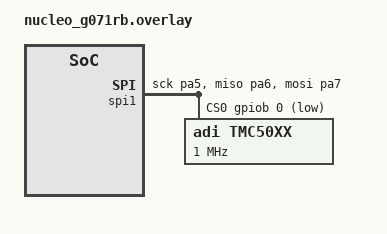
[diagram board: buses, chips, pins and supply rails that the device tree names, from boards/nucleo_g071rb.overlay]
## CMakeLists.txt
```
 # SPDX-FileCopyrightText: Copyright (c) 2025 Jilay Sandeep Pandya
 # SPDX-License-Identifier: Apache-2.0

cmake_minimum_required(VERSION 3.28.0)

find_package(Zephyr REQUIRED HINTS $ENV{ZEPHYR_BASE})
project(tmc50xx)

FILE(GLOB app_sources src/*.c)
target_sources(app PRIVATE ${app_sources})
```

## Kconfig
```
# SPDX-FileCopyrightText: Copyright (c) 2025 Jilay Sandeep Pandya
# SPDX-License-Identifier: Apache-2.0

mainmenu "TMC50XX sample application"

config STEPS_PER_REV
	int "Steps per revolution"
	default 200

config PING_PONG_N_REV
	int "Change direction every N revolutions"
	default 1

config MAX_VELOCITY_MULTIPLIER
	int "Max velocity multiplier"
	default 1

source "Kconfig.zephyr"
```

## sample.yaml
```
sample:
  name: TMC50XX Stepper Sample
tests:
  sample.drivers.stepper.tmc50xx:
    harness: stepper
    tags: stepper
    platform_allow: nucleo_g071rb
    depends_on: spi
```

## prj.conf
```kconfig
CONFIG_STEPPER_CONTROL=y
CONFIG_STEPPER=y
CONFIG_LOG=y
```

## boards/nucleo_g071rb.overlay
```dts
/*
 * SPDX-FileCopyrightText: Copyright (c) 2025 Dipak Shetty
 * SPDX-FileCopyrightText: Copyright (c) 2024 Jilay Sandeep Pandya
 * SPDX-License-Identifier: Apache-2.0
 */

/ {
	aliases {
		stepper-driver = &tmc_stepper_driver;
		stepper-ctrl = &tmc_motion_controller;
	};
};

&spi1 {
	pinctrl-0 = <&spi1_sck_pa5 &spi1_miso_pa6 &spi1_mosi_pa7>;
	pinctrl-names = "default";
	cs-gpios = <&gpiob 0 GPIO_ACTIVE_LOW>;
	status = "okay";

	tmc50xx: tmc50xx@0 {
		compatible = "adi,tmc50xx";
		reg = <0>;
		spi-max-frequency = <DT_FREQ_M(1)>; /* Maximum SPI bus frequency */

		clock-frequency = <DT_FREQ_M(10)>; /* Internal/External Clock frequency */

		/* common stepper controller settings */
		tmc_stepper_driver: stepper-driver {
			compatible = "adi,tmc50xx-stepper-driver";
			micro-step-res = <256>;
			idx = <0>;
			/* ADI TMC stallguard settings specific to TMC50XX */
			stallguard2-threshold = <30>;
		};

		/* ADI TMC ramp generator as well as current settings */
		tmc_motion_controller: motion-controller {
			compatible = "adi,tmc50xx-stepper-ctrl";
			idx = <0>;
			vstart = <1000>;
			vstop = <10>;
			a1 = <10000>;
			v1 = <50000>;
			d1 = <14000>;
			vmax = <900000>;
			amax = <50000>;
			dmax = <7000>;
			tzerowait = <100>;
			vhigh = <900000>;
			vcoolthrs = <900000>;
			ihold = <1>;
			irun = <10>;
			iholddelay = <1>;
		};
	};
};
```

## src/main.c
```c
/*
 * SPDX-FileCopyrightText: Copyright (c) 2025 Jilay Sandeep Pandya.
 * SPDX-License-Identifier: Apache-2.0
 */

#include <zephyr/device.h>
#include <zephyr/drivers/gpio.h>
#include <zephyr/drivers/stepper/stepper.h>
#include <zephyr/drivers/stepper/stepper_ctrl.h>
#include <zephyr/kernel.h>
#include <zephyr/drivers/stepper/stepper_trinamic.h>

#include <zephyr/logging/log.h>
LOG_MODULE_REGISTER(stepper_tmc50xx, CONFIG_STEPPER_LOG_LEVEL);

static const struct device *stepper_ctrl = DEVICE_DT_GET(DT_ALIAS(stepper_ctrl));
static const struct device *stepper_driver = DEVICE_DT_GET(DT_ALIAS(stepper_driver));

int32_t ping_pong_target_position = CONFIG_STEPS_PER_REV * CONFIG_PING_PONG_N_REV *
				    DT_PROP(DT_ALIAS(stepper_driver), micro_step_res);

K_SEM_DEFINE(steps_completed_sem, 0, 1);

void stepper_callback(const struct device *dev, const enum stepper_ctrl_event event,
		      void *user_data)
{
	ARG_UNUSED(user_data);
	switch (event) {
	case STEPPER_CTRL_EVENT_STEPS_COMPLETED:
		k_sem_give(&steps_completed_sem);
		break;
	default:
		break;
	}
}

int main(void)
{
	LOG_INF("Starting tmc50xx stepper sample");
	if (!device_is_ready(stepper_ctrl)) {
		LOG_ERR("Device %s is not ready", stepper_ctrl->name);
		return -ENODEV;
	}
	LOG_DBG("stepper is %p, name is %s", stepper_ctrl, stepper_ctrl->name);

	struct tmc_stallguard_settings sg_settings = {
		.is_sg_enabled = true,
		.sg_velocity_check_interval_ms = 100,
		.sg_threshold_velocity = 200000,
	};
	tmc50xx_stepper_ctrl_configure_stallguard(stepper_ctrl, &sg_settings);

	stepper_ctrl_set_event_cb(stepper_ctrl, stepper_callback, NULL);
	stepper_enable(stepper_driver);

	enum stepper_micro_step_resolution micro_step_res;

	stepper_get_micro_step_res(stepper_driver, &micro_step_res);
	LOG_DBG("Microstep resolution is %d", micro_step_res);

	stepper_ctrl_set_reference_position(stepper_ctrl, 0);
	stepper_ctrl_move_by(stepper_ctrl, ping_pong_target_position);

	/* Change Max Velocity during runtime */
	int32_t tmc_velocity;

	tmc_velocity = DT_PROP(DT_ALIAS(stepper_ctrl), vmax) * CONFIG_MAX_VELOCITY_MULTIPLIER;
	(void)tmc50xx_stepper_ctrl_set_max_velocity(stepper_ctrl, tmc_velocity);

	for (;;) {
		if (k_sem_take(&steps_completed_sem, K_FOREVER) == 0) {
			ping_pong_target_position *= -1;
			stepper_ctrl_move_by(stepper_ctrl, ping_pong_target_position);

			int32_t actual_position;
			int ret;

			ret = stepper_ctrl_get_actual_position(stepper_ctrl, &actual_position);
			if (ret == 0) {
				LOG_INF("Actual position: %d", actual_position);
			} else {
				LOG_ERR("Failed to get actual position");
			}
		}
	}
	return 0;
}
```
